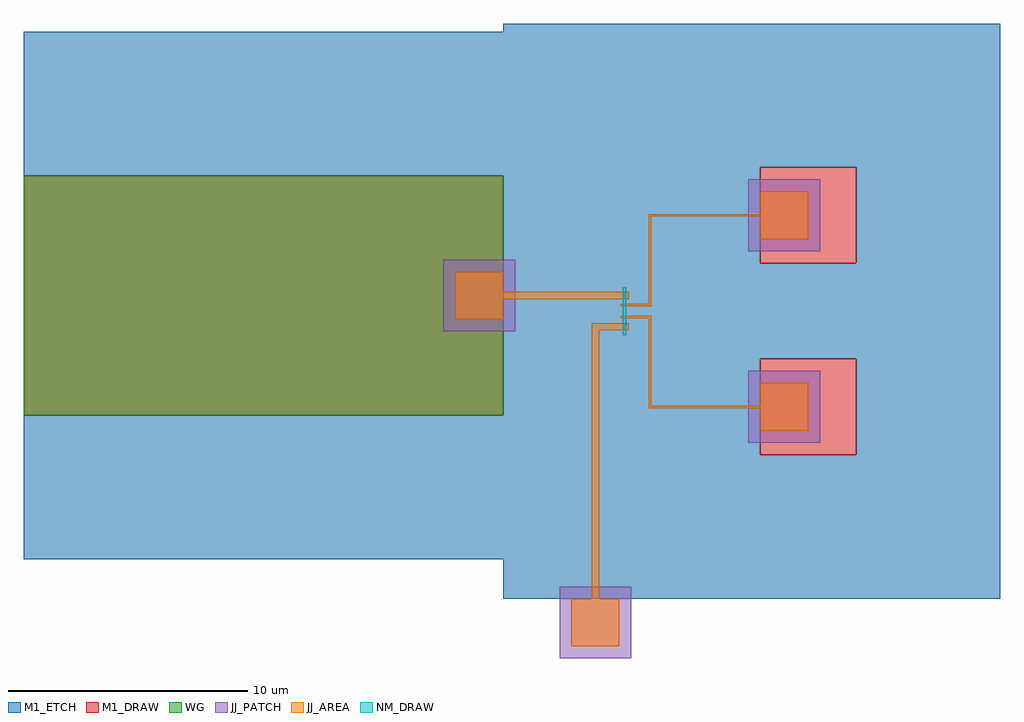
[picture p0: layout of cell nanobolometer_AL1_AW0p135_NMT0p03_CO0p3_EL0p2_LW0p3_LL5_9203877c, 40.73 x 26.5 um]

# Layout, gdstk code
import gdstk
lib = gdstk.Library(unit=1e-6, precision=1e-09)
def R(c, l, rs):  # rectangles x0, y0, x1, y1
    for r in rs: c.add(gdstk.rectangle(r[:2], r[2:], *l))
def P(c, l, *ps):  # polygons
    for p in ps: c.add(gdstk.Polygon(p, *l))
M1_DRAW = (1, 0)
M1_ETCH = (1, 1)
JJ_AREA = (20, 0)
JJ_PATCH = (20, 1)
NM_DRAW = (26, 0)
WG = (102, 0)

straight_l20_cscpw_n2 = lib.new_cell('straight_L20_CScpw_N2')
R(straight_l20_cscpw_n2, M1_DRAW, [(0,-5,20,5)])
R(straight_l20_cscpw_n2, M1_ETCH, [(0,-11,20,-5), (0,5,20,11)])
R(straight_l20_cscpw_n2, WG, [(0,-5,20,5)])

nanobolometer_al1_aw0p13 = lib.new_cell('nanobolometer_AL1_AW0p135_NMT0p03_CO0p3_EL0p2_LW0p3_LL5_9203877c')
R(nanobolometer_al1_aw0p13, M1_DRAW, [(5.735,-6,9.735,-2), (5.735,2,9.735,6)])
P(nanobolometer_al1_aw0p13, M1_ETCH, [(-5,-12),(-5,-2),(5.735,-2),(5.735,-6),(9.735,-6),(9.735,-2),(-5,-2),(-5,6),(5.735,6),(5.735,2),(9.735,2),(9.735,6),(-5,6),(-5,12),(15.735,12),(15.735,-12)])
R(nanobolometer_al1_aw0p13, JJ_AREA, [(-2.15,-14,-0.15,-12), (-1.3,-13,-1,-0.5), (5.735,-5,7.735,-3), (1.085,-4.05,6.735,-3.95), (1.085,-4,1.185,-0.25), (-1.3,-0.8,0.235,-0.5), (-7,-0.35,-5,1.65), (-0.1,-0.3,1.185,-0.2), (-0.1,0.2,1.185,0.3), (1.085,0.25,1.185,4), (-6,0.5,0.235,0.8), (5.735,3,7.735,5), (1.085,3.95,6.735,4.05)])
R(nanobolometer_al1_aw0p13, JJ_PATCH, [(-2.65,-14.5,0.35,-11.5), (5.235,-5.5,8.235,-2.5), (-7.5,-0.85,-4.5,2.15), (5.235,2.5,8.235,5.5)])
R(nanobolometer_al1_aw0p13, NM_DRAW, [(0,-1,0.135,1)])
nanobolometer_al1_aw0p13.add(gdstk.Reference(straight_l20_cscpw_n2, (-25,0.65)))

lib.write_gds('nanobolometer_AL1_AW0p135_NMT0p03_CO0p3_EL0p2_LW0p3_LL5_9203877c.gds')
